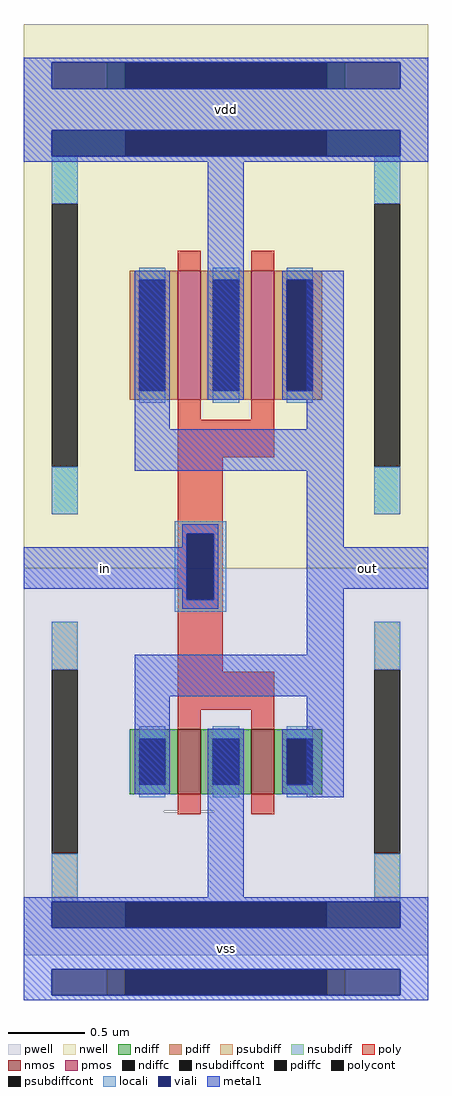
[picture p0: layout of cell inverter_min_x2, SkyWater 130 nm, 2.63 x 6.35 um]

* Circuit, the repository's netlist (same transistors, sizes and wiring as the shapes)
**.subckt inverter_min_x2 vss in out vdd
*.iopin vss
*.ipin in
*.opin out
*.iopin vdd
XM2 out in vdd vdd sky130_fd_pr__pfet_01v8 L=0.15 W=0.84 nf=1 ad='int((nf+1)/2) * W/nf * 0.29' as='int((nf+2)/2) * W/nf * 0.29'
+ pd='2*int((nf+1)/2) * (W/nf + 0.29)' ps='2*int((nf+2)/2) * (W/nf + 0.29)' nrd='0.29 / W' nrs='0.29 / W'
+ sa=0 sb=0 sd=0 mult=2 m=2 
XM1 out in vss vss sky130_fd_pr__nfet_01v8 L=0.15 W=0.42 nf=1 ad='int((nf+1)/2) * W/nf * 0.29' as='int((nf+2)/2) * W/nf * 0.29'
+ pd='2*int((nf+1)/2) * (W/nf + 0.29)' ps='2*int((nf+2)/2) * (W/nf + 0.29)' nrd='0.29 / W' nrs='0.29 / W'
+ sa=0 sb=0 sd=0 mult=2 m=2 
**.ends
** flattened .save nodes
.end

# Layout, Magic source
magic
tech sky130A
magscale 1 2
<< nwell >>
rect -53 551 473 655
rect 24 543 385 551
rect 29 539 371 543
<< psubdiff >>
rect 55 -609 79 -575
rect 341 -609 365 -575
<< nsubdiff >>
rect 55 571 79 605
rect 341 571 365 605
<< psubdiffcont >>
rect 79 -609 341 -575
<< nsubdiffcont >>
rect 79 571 341 605
<< poly >>
rect 147 91 273 140
rect 147 -8 206 91
rect 147 -94 159 -8
rect 194 -94 206 -8
rect 147 -188 206 -94
rect 147 -237 273 -188
<< polycont >>
rect 159 -94 194 -8
<< locali >>
rect 143 -8 210 8
rect 143 -94 159 -8
rect 194 -94 210 -8
rect 143 -110 210 -94
<< viali >>
rect -17 571 79 605
rect 79 571 341 605
rect 341 571 437 605
rect -17 483 437 517
rect 159 -94 194 -8
rect -17 -521 437 -487
rect -17 -609 79 -575
rect 79 -609 341 -575
rect 341 -609 437 -575
<< metal1 >>
rect -53 605 473 611
rect -53 571 -17 605
rect 437 571 473 605
rect -53 517 473 571
rect -53 483 -17 517
rect 437 483 473 517
rect -53 476 473 483
rect 91 128 137 334
rect 186 166 233 476
rect 315 128 363 334
rect 91 74 363 128
rect 153 -8 200 4
rect 153 -26 159 -8
rect -53 -80 159 -26
rect 153 -94 159 -80
rect 194 -94 200 -8
rect 153 -106 200 -94
rect 315 -26 363 74
rect 315 -80 473 -26
rect 315 -166 363 -80
rect 91 -220 363 -166
rect 91 -347 137 -220
rect 186 -481 233 -262
rect 315 -351 363 -220
rect -53 -487 473 -481
rect -53 -521 -17 -487
rect 437 -521 473 -487
rect -53 -575 473 -521
rect -53 -609 -17 -575
rect 437 -609 473 -575
rect -53 -615 473 -609
use sky130_fd_pr__pfet_01v8_ZPB9BB  sky130_fd_pr__pfet_01v8_ZPB9BB_0
transform 1 0 210 0 1 250
box -263 -303 263 303
use sky130_fd_pr__nfet_01v8_5RJ8EK  sky130_fd_pr__nfet_01v8_5RJ8EK_0
transform 1 0 210 0 1 -305
box -263 -252 263 252
<< labels >>
rlabel metal1 -53 -80 159 -26 1 in
rlabel metal1 315 -80 473 -26 1 out
rlabel metal1 -53 517 473 571 1 vdd
rlabel metal1 -53 -575 473 -521 1 vss
<< end >>

# cell sky130_fd_pr__pfet_01v8_ZPB9BB: kit device sky130_fd_pr__pfet_01v8, w 0.84 l 0.15 m 1 nf 2 diffcov 100 polycov 100 guard 1 glc 1 grc 1 gtc 1 gbc 0 tbcov 100 rlcov 100 topc 0 botc 0 poverlap 0 doverlap 1 lmin 0.15 wmin 0.42 compatible {sky130_fd_pr__pfet_01v8 sky130_fd_pr__pfet_01v8_lvt sky130_fd_pr__pfet_01v8_hvt sky130_fd_pr__pfet_g5v0d10v5} full_metal 1 viasrc 100 viadrn 100 viagate 100 viagb 0 viagr 0 viagl 0 viagt 0

# cell sky130_fd_pr__nfet_01v8_5RJ8EK: kit device sky130_fd_pr__nfet_01v8, w 0.420 l 0.150 m 1 nf 2 diffcov 100 polycov 100 guard 1 glc 1 grc 1 gtc 0 gbc 1 tbcov 100 rlcov 100 topc 0 botc 0 poverlap 0 doverlap 1 lmin 0.15 wmin 0.42 compatible {sky130_fd_pr__nfet_01v8 sky130_fd_pr__nfet_01v8_lvt sky130_fd_bs_flash__special_sonosfet_star sky130_fd_pr__nfet_g5v0d10v5 sky130_fd_pr__nfet_05v0_nvt sky130_fd_pr__nfet_03v3_nvt} full_metal 1 viasrc 100 viadrn 100 viagate 100 viagb 0 viagr 0 viagl 0 viagt 0
